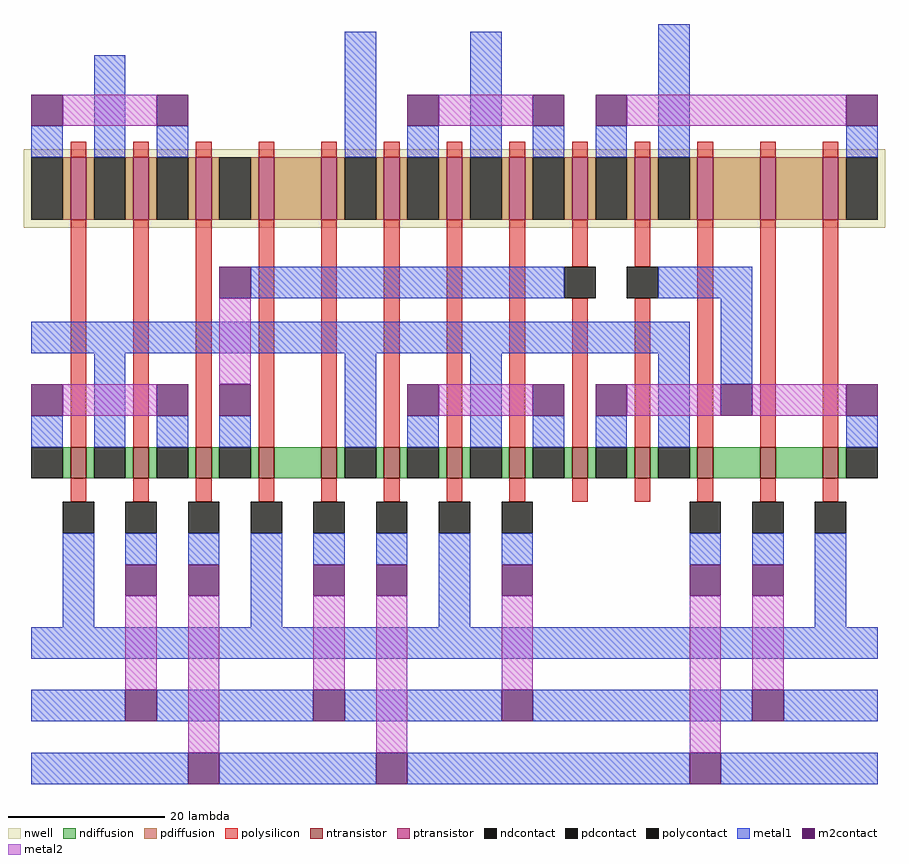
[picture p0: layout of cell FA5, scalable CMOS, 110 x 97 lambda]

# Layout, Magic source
magic
tech scmos
<< nwell >>
rect -26 45 84 55
<< polysilicon >>
rect -20 54 -18 56
rect -12 54 -10 56
rect -4 54 -2 56
rect 4 54 6 56
rect 12 54 14 56
rect 20 54 22 56
rect 28 54 30 56
rect 36 54 38 56
rect 44 54 46 56
rect 52 54 54 56
rect 60 54 62 56
rect 68 54 70 56
rect 76 54 78 56
rect -20 17 -18 46
rect -12 17 -10 46
rect -4 17 -2 46
rect 4 17 6 46
rect 12 17 14 46
rect 20 17 22 46
rect 28 17 30 46
rect 36 17 38 46
rect 44 40 46 46
rect 52 40 54 46
rect 44 17 46 36
rect 52 17 54 36
rect 60 17 62 46
rect 68 17 70 46
rect 76 17 78 46
rect -20 10 -18 13
rect -12 10 -10 13
rect -4 10 -2 13
rect 4 10 6 13
rect 12 10 14 13
rect 20 10 22 13
rect 28 10 30 13
rect 36 10 38 13
rect 44 10 46 13
rect 52 10 54 13
rect 60 10 62 13
rect 68 10 70 13
rect 76 10 78 13
<< ndiffusion >>
rect -21 13 -20 17
rect -18 13 -17 17
rect -13 13 -12 17
rect -10 13 -9 17
rect -5 13 -4 17
rect -2 13 -1 17
rect 3 13 4 17
rect 6 13 12 17
rect 14 13 15 17
rect 19 13 20 17
rect 22 13 23 17
rect 27 13 28 17
rect 30 13 31 17
rect 35 13 36 17
rect 38 13 39 17
rect 43 13 44 17
rect 46 13 47 17
rect 51 13 52 17
rect 54 13 55 17
rect 59 13 60 17
rect 62 13 68 17
rect 70 13 76 17
rect 78 13 79 17
<< pdiffusion >>
rect -21 46 -20 54
rect -18 46 -17 54
rect -13 46 -12 54
rect -10 46 -9 54
rect -5 46 -4 54
rect -2 46 -1 54
rect 3 46 4 54
rect 6 46 12 54
rect 14 46 15 54
rect 19 46 20 54
rect 22 46 23 54
rect 27 46 28 54
rect 30 46 31 54
rect 35 46 36 54
rect 38 46 39 54
rect 43 46 44 54
rect 46 46 47 54
rect 51 46 52 54
rect 54 46 55 54
rect 59 46 60 54
rect 62 46 68 54
rect 70 46 76 54
rect 78 46 79 54
<< metal1 >>
rect -25 54 -21 58
rect -17 54 -13 67
rect -9 54 -5 58
rect 15 54 19 70
rect 23 54 27 58
rect 31 54 35 70
rect 39 54 43 58
rect 47 54 51 58
rect 55 54 59 71
rect 79 54 83 58
rect 3 36 43 40
rect 55 36 67 40
rect -25 29 59 33
rect -25 17 -21 21
rect -17 17 -13 29
rect -9 17 -5 21
rect -1 17 3 21
rect 15 17 19 29
rect 23 17 27 21
rect 31 17 35 29
rect 39 17 43 21
rect 47 17 51 21
rect 55 17 59 29
rect 63 25 67 36
rect 79 17 83 21
rect -21 -6 -17 6
rect -13 2 -9 6
rect -5 2 -1 6
rect 3 -6 7 6
rect 11 2 15 6
rect 19 2 23 6
rect 27 -6 31 6
rect 35 2 39 6
rect 59 2 63 6
rect 67 2 71 6
rect 75 -6 79 6
rect -25 -10 83 -6
rect -25 -18 -13 -14
rect -9 -18 11 -14
rect 15 -18 35 -14
rect 39 -18 67 -14
rect 71 -18 83 -14
rect -25 -26 -5 -22
rect -1 -26 19 -22
rect 23 -26 59 -22
rect 63 -26 83 -22
<< metal2 >>
rect -21 58 -9 62
rect 27 58 39 62
rect 51 58 79 62
rect -1 25 3 36
rect -21 21 -9 25
rect 27 21 39 25
rect 51 21 63 25
rect 67 21 79 25
rect -13 -14 -9 -2
rect -5 -22 -1 -2
rect 11 -14 15 -2
rect 19 -22 23 -2
rect 35 -14 39 -2
rect 59 -22 63 -2
rect 67 -14 71 -2
<< ntransistor >>
rect -20 13 -18 17
rect -12 13 -10 17
rect -4 13 -2 17
rect 4 13 6 17
rect 12 13 14 17
rect 20 13 22 17
rect 28 13 30 17
rect 36 13 38 17
rect 44 13 46 17
rect 52 13 54 17
rect 60 13 62 17
rect 68 13 70 17
rect 76 13 78 17
<< ptransistor >>
rect -20 46 -18 54
rect -12 46 -10 54
rect -4 46 -2 54
rect 4 46 6 54
rect 12 46 14 54
rect 20 46 22 54
rect 28 46 30 54
rect 36 46 38 54
rect 44 46 46 54
rect 52 46 54 54
rect 60 46 62 54
rect 68 46 70 54
rect 76 46 78 54
<< polycontact >>
rect 43 36 47 40
rect 51 36 55 40
rect -21 6 -17 10
rect -13 6 -9 10
rect -5 6 -1 10
rect 3 6 7 10
rect 11 6 15 10
rect 19 6 23 10
rect 27 6 31 10
rect 35 6 39 10
rect 59 6 63 10
rect 67 6 71 10
rect 75 6 79 10
<< ndcontact >>
rect -25 13 -21 17
rect -17 13 -13 17
rect -9 13 -5 17
rect -1 13 3 17
rect 15 13 19 17
rect 23 13 27 17
rect 31 13 35 17
rect 39 13 43 17
rect 47 13 51 17
rect 55 13 59 17
rect 79 13 83 17
<< pdcontact >>
rect -25 46 -21 54
rect -17 46 -13 54
rect -9 46 -5 54
rect -1 46 3 54
rect 15 46 19 54
rect 23 46 27 54
rect 31 46 35 54
rect 39 46 43 54
rect 47 46 51 54
rect 55 46 59 54
rect 79 46 83 54
<< m2contact >>
rect -25 58 -21 62
rect -9 58 -5 62
rect 23 58 27 62
rect 39 58 43 62
rect 47 58 51 62
rect 79 58 83 62
rect -1 36 3 40
rect -25 21 -21 25
rect -9 21 -5 25
rect -1 21 3 25
rect 23 21 27 25
rect 39 21 43 25
rect 47 21 51 25
rect 63 21 67 25
rect 79 21 83 25
rect -13 -2 -9 2
rect -5 -2 -1 2
rect 11 -2 15 2
rect 19 -2 23 2
rect 35 -2 39 2
rect 59 -2 63 2
rect 67 -2 71 2
rect -13 -18 -9 -14
rect 11 -18 15 -14
rect 35 -18 39 -14
rect 67 -18 71 -14
rect -5 -26 -1 -22
rect 19 -26 23 -22
rect 59 -26 63 -22
<< end >>
